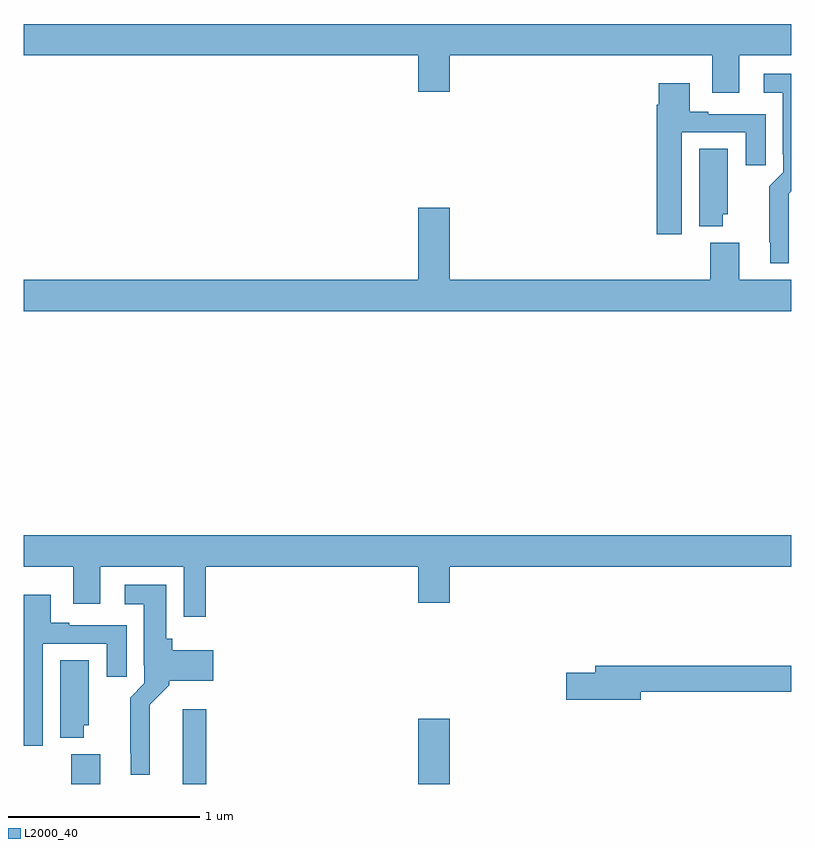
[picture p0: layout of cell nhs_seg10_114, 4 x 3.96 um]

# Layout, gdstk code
import gdstk
lib = gdstk.Library(unit=1e-6, precision=1e-09)
def R(c, l, rs):  # rectangles x0, y0, x1, y1
    for r in rs: c.add(gdstk.rectangle(r[:2], r[2:], *l))
def P(c, l, *ps):  # polygons
    for p in ps: c.add(gdstk.Polygon(p, *l))
L2000_40 = (2000, 40)

nhs_seg10_114 = lib.new_cell('nhs_seg10_114')
R(nhs_seg10_114, L2000_40, [(115.247,1316.5,115.399,1316.656), (115.829,1316.5,115.952,1316.89), (117.056,1316.5,117.22,1316.839)])
P(nhs_seg10_114, L2000_40, [(118.729,1320.296),(119,1320.296),(119,1320.46),(115,1320.46),(115,1320.296),(117.056,1320.296),(117.056,1320.108),(117.22,1320.108),(117.22,1320.296),(118.589,1320.296),(118.589,1320.102),(118.729,1320.102)],
  [(118.987,1319.576),(119,1319.589),(119,1320.202),(118.857,1320.202),(118.857,1320.101),(118.955,1320.101),(118.955,1319.782),(118.959,1319.782),(118.959,1319.688),(118.885,1319.614),(118.885,1319.323),(118.889,1319.323),(118.889,1319.213),(118.987,1319.213)],
  [(118.429,1319.895),(118.763,1319.895),(118.763,1319.724),(118.867,1319.724),(118.867,1319.991),(118.567,1319.991),(118.567,1320.004),(118.471,1320.004),(118.471,1320.151),(118.31,1320.151),(118.31,1320.038),(118.298,1320.038),(118.298,1319.364),(118.429,1319.364)],
  [(118.642,1319.469),(118.669,1319.469),(118.669,1319.81),(118.52,1319.81),(118.52,1319.405),(118.642,1319.405)],
  [(119,1319.128),(118.729,1319.128),(118.729,1319.32),(118.577,1319.32),(118.577,1319.128),(117.22,1319.128),(117.22,1319.503),(117.056,1319.503),(117.056,1319.128),(115,1319.128),(115,1318.964),(119,1318.964)],
  [(115.949,1317.632),(117.056,1317.632),(117.056,1317.444),(117.22,1317.444),(117.22,1317.632),(119,1317.632),(119,1317.796),(115,1317.796),(115,1317.632),(115.259,1317.632),(115.259,1317.438),(115.399,1317.438),(115.399,1317.632),(115.833,1317.632),(115.833,1317.372),(115.949,1317.372)],
  [(115.657,1316.912),(115.758,1317.014),(115.758,1317.038),(115.987,1317.038),(115.987,1317.196),(115.775,1317.196),(115.775,1317.258),(115.744,1317.258),(115.744,1317.538),(115.527,1317.538),(115.527,1317.437),(115.625,1317.437),(115.625,1317.118),(115.629,1317.118),(115.629,1317.024),(115.555,1316.95),(115.555,1316.659),(115.559,1316.659),(115.559,1316.549),(115.657,1316.549)],
  [(115.099,1317.231),(115.433,1317.231),(115.433,1317.06),(115.537,1317.06),(115.537,1317.327),(115.237,1317.327),(115.237,1317.34),(115.141,1317.34),(115.141,1317.487),(115,1317.487),(115,1316.7),(115.099,1316.7)],
  [(115.312,1316.805),(115.339,1316.805),(115.339,1317.146),(115.19,1317.146),(115.19,1316.741),(115.312,1316.741)],
  [(118.216,1316.98),(119,1316.98),(119,1317.116),(117.977,1317.116),(117.977,1317.08),(117.828,1317.08),(117.828,1316.938),(118.216,1316.938)])

lib.write_gds('nhs_seg10_114.gds')
